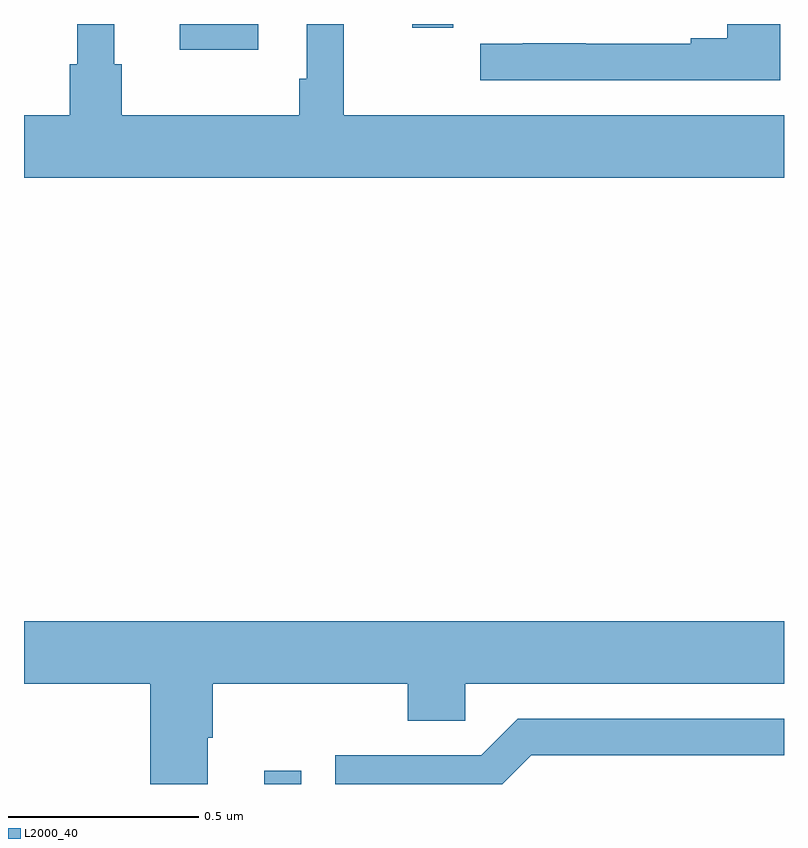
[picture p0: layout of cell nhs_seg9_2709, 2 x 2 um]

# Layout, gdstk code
import gdstk
lib = gdstk.Library(unit=1e-6, precision=1e-09)
def R(c, l, rs):  # rectangles x0, y0, x1, y1
    for r in rs: c.add(gdstk.rectangle(r[:2], r[2:], *l))
def P(c, l, *ps):  # polygons
    for p in ps: c.add(gdstk.Polygon(p, *l))
L2000_40 = (2000, 40)

nhs_seg9_2709 = lib.new_cell('nhs_seg9_2709')
R(nhs_seg9_2709, L2000_40, [(144.632,1185.5,144.729,1185.535), (144.41,1187.432,144.616,1187.5), (145.022,1187.49,145.13,1187.5)])
P(nhs_seg9_2709, L2000_40, [(146,1187.26),(144.842,1187.26),(144.842,1187.5),(144.744,1187.5),(144.744,1187.356),(144.724,1187.356),(144.724,1187.26),(144.257,1187.26),(144.257,1187.394),(144.238,1187.394),(144.238,1187.5),(144.14,1187.5),(144.14,1187.394),(144.121,1187.394),(144.121,1187.26),(144,1187.26),(144,1187.096),(146,1187.096)],
  [(145.99,1187.5),(145.85,1187.5),(145.85,1187.463),(145.754,1187.463),(145.754,1187.448),(145.478,1187.448),(145.478,1187.449),(145.312,1187.449),(145.312,1187.448),(145.2,1187.448),(145.2,1187.352),(145.99,1187.352)],
  [(144.484,1185.622),(144.497,1185.622),(144.497,1185.764),(145.01,1185.764),(145.01,1185.666),(145.161,1185.666),(145.161,1185.764),(146,1185.764),(146,1185.928),(144,1185.928),(144,1185.764),(144.332,1185.764),(144.332,1185.5),(144.484,1185.5)],
  [(145.335,1185.576),(146,1185.576),(146,1185.672),(145.299,1185.672),(145.203,1185.576),(144.819,1185.576),(144.819,1185.5),(145.259,1185.5)])

lib.write_gds('nhs_seg9_2709.gds')
